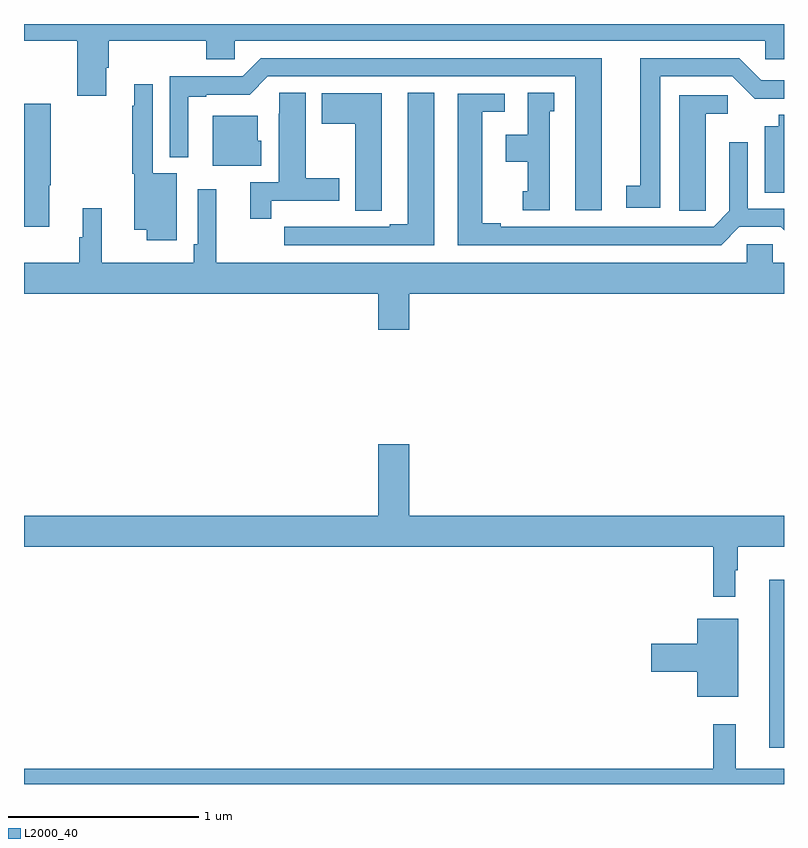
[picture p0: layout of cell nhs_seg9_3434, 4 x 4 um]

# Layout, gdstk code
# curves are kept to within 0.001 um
import gdstk
lib = gdstk.Library(unit=1e-6, precision=1e-09)
def R(c, l, rs):  # rectangles x0, y0, x1, y1
    for r in rs: c.add(gdstk.rectangle(r[:2], r[2:], *l))
def P(c, l, *ps):  # polygons
    for p in ps: c.add(gdstk.Polygon(p, *l))
L2000_40 = (2000, 40)

nhs_seg9_3434 = lib.new_cell('nhs_seg9_3434')
R(nhs_seg9_3434, L2000_40, [(310.922,1200.69,311,1201.576)])
P(nhs_seg9_3434, L2000_40, [(307,1204.412),(307.28,1204.412),(307.28,1204.122),(307.432,1204.122),(307.432,1204.27),(307.445,1204.27),(307.445,1204.412),(307.958,1204.412),(307.958,1204.314),(308.109,1204.314),(308.109,1204.412),(310.902,1204.412),(310.902,1204.314),(311,1204.314),(311,1204.5),(307,1204.5)],
  [(310.348,1204.224),(310.728,1204.224),(310.846,1204.106),(311,1204.107),(311,1204.203),(310.881,1204.203),(310.764,1204.32),(310.244,1204.32),(310.244,1203.65),(310.17,1203.65),(310.17,1203.534),(310.348,1203.534)],
  [(310.042,1204.32),(308.247,1204.32),(308.151,1204.224),(307.767,1204.224),(307.767,1203.8),(307.864,1203.8),(307.864,1204.116),(307.96,1204.116),(307.96,1204.128),(308.187,1204.128),(308.283,1204.224),(309.902,1204.224),(309.902,1203.519),(310.042,1203.519)],
  [(307.804,1203.715),(307.677,1203.715),(307.677,1204.183),(307.58,1204.183),(307.58,1204.07),(307.569,1204.07),(307.569,1203.711),(307.58,1203.711),(307.58,1203.416),(307.646,1203.416),(307.646,1203.363),(307.804,1203.363)],
  [(308.3,1203.57),(308.659,1203.57),(308.659,1203.687),(308.482,1203.687),(308.482,1204.139),(308.343,1204.139),(308.343,1204.028),(308.342,1204.028),(308.342,1203.666),(308.192,1203.666),(308.192,1203.474),(308.3,1203.474)],
  [(309.766,1204.041),(309.79,1204.041),(309.79,1204.139),(309.65,1204.139),(309.65,1203.916),(309.536,1203.916),(309.536,1203.776),(309.65,1203.776),(309.65,1203.621),(309.626,1203.621),(309.626,1203.519),(309.766,1203.519)],
  [(309.16,1204.139),(309.02,1204.139),(309.02,1203.447),(308.924,1203.447),(308.924,1203.432),(308.648,1203.432),(308.648,1203.433),(308.482,1203.433),(308.482,1203.432),(308.37,1203.432),(308.37,1203.336),(309.16,1203.336)],
  [(308.883,1203.625),(308.884,1203.625),(308.884,1204.135),(308.567,1204.135),(308.567,1203.976),(308.744,1203.976),(308.744,1203.517),(308.883,1203.517)],
  [(310.765,1203.432),(310.983,1203.432),(311,1203.415),(311,1203.528),(310.809,1203.528),(310.809,1203.877),(310.713,1203.877),(310.713,1203.516),(310.629,1203.432),(309.508,1203.432),(309.508,1203.452),(309.412,1203.452),(309.412,1204.038),(309.529,1204.038),(309.529,1204.134),(309.284,1204.134),(309.284,1203.336),(310.669,1203.336)],
  [(310.587,1203.625),(310.588,1203.625),(310.588,1204.028),(310.705,1204.028),(310.705,1204.125),(310.448,1204.125),(310.448,1203.517),(310.587,1203.517)],
  [(307.132,1203.651),(307.14,1203.651),(307.14,1204.081),(307,1204.081),(307,1203.432),(307.132,1203.432)],
  [(311,1204.022),(310.973,1204.022),(310.973,1203.961),(310.898,1203.961),(310.898,1203.613),(311,1203.613)],
  [(308.248,1203.885),(308.23,1203.885),(308.23,1204.018),(307.994,1204.018),(307.994,1203.755),(308.248,1203.755)],
  [(309.028,1203.08),(311,1203.08),(311,1203.244),(310.941,1203.244),(310.941,1203.342),(310.803,1203.342),(310.803,1203.244),(308.012,1203.244),(308.012,1203.631),(307.914,1203.631),(307.914,1203.34),(307.894,1203.34),(307.894,1203.244),(307.41,1203.244),(307.41,1203.529),(307.31,1203.529),(307.31,1203.378),(307.291,1203.378),(307.291,1203.244),(307,1203.244),(307,1203.08),(308.864,1203.08),(308.864,1202.892),(309.028,1202.892)],
  [(310.744,1201.625),(310.756,1201.625),(310.756,1201.748),(311,1201.748),(311,1201.912),(309.028,1201.912),(309.028,1202.287),(308.864,1202.287),(308.864,1201.912),(307,1201.912),(307,1201.748),(310.627,1201.748),(310.627,1201.485),(310.744,1201.485)],
  [(310.759,1201.369),(310.544,1201.369),(310.544,1201.238),(310.302,1201.238),(310.302,1201.091),(310.544,1201.091),(310.544,1200.959),(310.759,1200.959)],
  [(310.745,1200.814),(310.627,1200.814),(310.627,1200.58),(307,1200.58),(307,1200.5),(311,1200.5),(311,1200.58),(310.745,1200.58)])

lib.write_gds('nhs_seg9_3434.gds')
